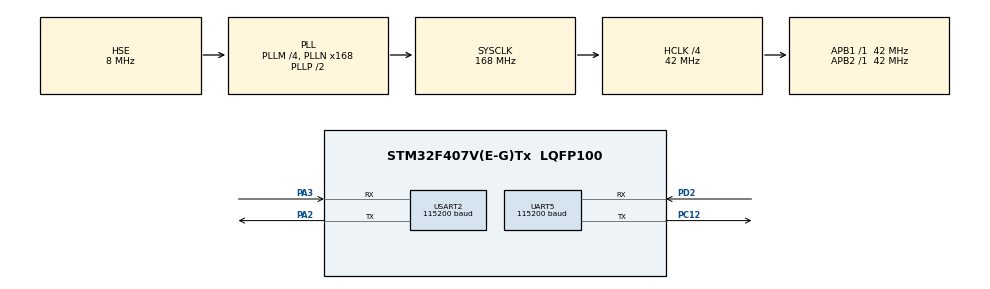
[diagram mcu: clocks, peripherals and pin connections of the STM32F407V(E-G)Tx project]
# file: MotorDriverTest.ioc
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Mcu.Family=STM32F4
Mcu.Name=STM32F407V(E-G)Tx
Mcu.Package=LQFP100
NVIC.PriorityGroup=NVIC_PRIORITYGROUP_4
PA2.Mode=Asynchronous
PA2.Signal=USART2_TX
PA3.Mode=Asynchronous
PA3.Signal=USART2_RX
PC12.Mode=Asynchronous
PC12.Signal=UART5_TX
PD2.Mode=Asynchronous
PD2.Signal=UART5_RX
PH0-OSC_IN.Mode=HSE-External-Oscillator
PH0-OSC_IN.Signal=RCC_OSC_IN
PH1-OSC_OUT.Mode=HSE-External-Oscillator
PH1-OSC_OUT.Signal=RCC_OSC_OUT
ProjectManager.HeapSize=0x200
ProjectManager.StackSize=0x400
ProjectManager.TargetToolchain=STM32CubeIDE
RCC.48MHZClocksFreq_Value=84000000
RCC.AHBCLKDivider=RCC_SYSCLK_DIV4
RCC.AHBFreq_Value=42000000
RCC.APB1Freq_Value=42000000
RCC.APB1TimFreq_Value=42000000
RCC.APB2Freq_Value=42000000
RCC.APB2TimFreq_Value=42000000
RCC.CortexFreq_Value=42000000
RCC.HCLKFreq_Value=42000000
RCC.HSE_VALUE=8000000
RCC.HSI_VALUE=16000000
RCC.LSE_VALUE=32768
RCC.PLLM=4
RCC.PLLN=168
RCC.PLLSourceVirtual=RCC_PLLSOURCE_HSE
RCC.SYSCLKFreq_VALUE=168000000
RCC.SYSCLKSource=RCC_SYSCLKSOURCE_PLLCLK
RCC.VCOOutputFreq_Value=336000000
UART5.BaudRate=115200
UART5.VirtualMode=Asynchronous
USART2.BaudRate=115200
USART2.VirtualMode=VM_ASYNC
board=custom

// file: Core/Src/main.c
/* USER CODE BEGIN Header */
/**
  ******************************************************************************
  * @file           : main.c
  * @brief          : Main program body
  ******************************************************************************
  * @attention
  *
  * Copyright (c) 2025 STMicroelectronics.
  * All rights reserved.
  *
  * This software is licensed under terms that can be found in the LICENSE file
  * in the root directory of this software component.
  * If no LICENSE file comes with this software, it is provided AS-IS.
  *
  ******************************************************************************
  */
/* USER CODE END Header */
#include "main.h"

UART_HandleTypeDef huart5;
UART_HandleTypeDef huart2;

/* USER CODE BEGIN PV */
uint8_t command = 0x88;
uint8_t data = 0x7F;
uint8_t i = 0;
uint8_t *point = &i;
/* USER CODE END PV */

void SystemClock_Config(void);
static void MX_GPIO_Init(void);
static void MX_USART2_UART_Init(void);
static void MX_UART5_Init(void);
/* USER CODE BEGIN PFP */
void printNumber(uint8_t *num);

/* USER CODE END PFP */

int main(void)
{

  /* MCU Configuration--------------------------------------------------------*/

  /* Reset of all peripherals, Initializes the Flash interface and the Systick. */
  HAL_Init();

  /* Configure the system clock */
  SystemClock_Config();

  /* Initialize all configured peripherals */
  MX_GPIO_Init();
  MX_USART2_UART_Init();
  MX_UART5_Init();
  /* USER CODE BEGIN 2 */

  // get config params
  command = 0x83;
  uint8_t param = 9;
  data = 2;  // 1 - 11
  HAL_UART_Transmit(&huart2, &command, 1, 20);
  HAL_UART_Transmit(&huart2, &param, 1, 20);
  HAL_UART_Receive(&huart2, &data, 1, 20);
  HAL_Delay(7);

  // get error
  command = 0x82;
  data = 0;
  HAL_UART_Transmit(&huart2, &command, 1, 20);
  HAL_UART_Receive(&huart2, &data, 1, 20);
  HAL_Delay(7);

 //M0 forward max
  command = 0x88;
  data = 0x7F;
  HAL_UART_Transmit(&huart2, &command, 1, 20);
  HAL_UART_Transmit(&huart2, &data, 1, 20);
  HAL_Delay(7);
  // check the current
  command = 0x90;
  HAL_UART_Transmit(&huart2, &command, 1, 20);
  HAL_UART_Receive(&huart2, &data, 1, 20);
  HAL_Delay(300);

  //M0 reverse max
   command = 0x8B;
   data = 0x7F;
   HAL_UART_Transmit(&huart2, &command, 1, 20);
   HAL_UART_Transmit(&huart2, &data, 1, 20);
   HAL_Delay(7);

  //M0 break max
   command = 0x86;
   data = 127;
   HAL_UART_Transmit(&huart2, &command, 1, 20);
     HAL_UART_Transmit(&huart2, &data, 1, 20);
   // check current while braking
   command = 0x90;
   HAL_UART_Transmit(&huart2, &command, 1, 20);
   HAL_UART_Receive(&huart2, &data, 1, 20);
   HAL_Delay(300);
   // check current on stopped motor
   command = 0x90;
   HAL_UART_Transmit(&huart2, &command, 1, 20);
   HAL_UART_Receive(&huart2, &data, 1, 20);
   HAL_Delay(300);

   //M0 forward medium speed 63
    command = 0x88;
    data = 63;
    HAL_UART_Transmit(&huart2, &command, 1, 20);
    HAL_UART_Transmit(&huart2, &data, 1, 20);

    // check the current
    command = 0x90;
    HAL_UART_Transmit(&huart2, &command, 1, 20);
    HAL_UART_Receive(&huart2, &data, 1, 20);
    HAL_Delay(300);

  //M1 forward max
   command = 0x8C;
   data = 127;
   HAL_UART_Transmit(&huart2, &command, 1, 20);
   HAL_UART_Transmit(&huart2, &data, 1, 20);
   HAL_Delay(300);

  //M1 brak 0
   command = 0x87;
   data = 0;
   HAL_UART_Transmit(&huart2, &command, 1, 20);
   HAL_UART_Transmit(&huart2, &data, 1, 20);
   HAL_Delay(300);

  /* USER CODE END 2 */

  /* Infinite loop */
  /* USER CODE BEGIN WHILE */
  while (1)
  {
	//printNumber(point);
	  // PC comunication test
	  command = 0x90;
	  HAL_UART_Transmit(&huart5, &command, 1, 20);
	  HAL_Delay(300);
    /* USER CODE END WHILE */

  }
}

void SystemClock_Config(void)
{
  RCC_OscInitTypeDef RCC_OscInitStruct = {0};
  RCC_ClkInitTypeDef RCC_ClkInitStruct = {0};

  /** Configure the main internal regulator output voltage
  */
  __HAL_RCC_PWR_CLK_ENABLE();
  __HAL_PWR_VOLTAGESCALING_CONFIG(PWR_REGULATOR_VOLTAGE_SCALE1);

  /** Initializes the RCC Oscillators according to the specified parameters
  * in the RCC_OscInitTypeDef structure.
  */
  RCC_OscInitStruct.OscillatorType = RCC_OSCILLATORTYPE_HSE;
  RCC_OscInitStruct.HSEState = RCC_HSE_ON;
  RCC_OscInitStruct.PLL.PLLState = RCC_PLL_ON;
  RCC_OscInitStruct.PLL.PLLSource = RCC_PLLSOURCE_HSE;
  RCC_OscInitStruct.PLL.PLLM = 4;
  RCC_OscInitStruct.PLL.PLLN = 168;
  RCC_OscInitStruct.PLL.PLLP = RCC_PLLP_DIV2;
  RCC_OscInitStruct.PLL.PLLQ = 4;
  if (HAL_RCC_OscConfig(&RCC_OscInitStruct) != HAL_OK)
  {
    Error_Handler();
  }

  /** Initializes the CPU, AHB and APB buses clocks
  */
  RCC_ClkInitStruct.ClockType = RCC_CLOCKTYPE_HCLK|RCC_CLOCKTYPE_SYSCLK
                              |RCC_CLOCKTYPE_PCLK1|RCC_CLOCKTYPE_PCLK2;
  RCC_ClkInitStruct.SYSCLKSource = RCC_SYSCLKSOURCE_PLLCLK;
  RCC_ClkInitStruct.AHBCLKDivider = RCC_SYSCLK_DIV4;
  RCC_ClkInitStruct.APB1CLKDivider = RCC_HCLK_DIV1;
  RCC_ClkInitStruct.APB2CLKDivider = RCC_HCLK_DIV1;

  if (HAL_RCC_ClockConfig(&RCC_ClkInitStruct, FLASH_LATENCY_1) != HAL_OK)
  {
    Error_Handler();
  }
}

static void MX_UART5_Init(void)
{

  huart5.Instance = UART5;
  huart5.Init.BaudRate = 115200;
  huart5.Init.WordLength = UART_WORDLENGTH_8B;
  huart5.Init.StopBits = UART_STOPBITS_1;
  huart5.Init.Parity = UART_PARITY_NONE;
  huart5.Init.Mode = UART_MODE_TX_RX;
  huart5.Init.HwFlowCtl = UART_HWCONTROL_NONE;
  huart5.Init.OverSampling = UART_OVERSAMPLING_16;
  if (HAL_UART_Init(&huart5) != HAL_OK)
  {
    Error_Handler();
  }

}

static void MX_USART2_UART_Init(void)
{

  huart2.Instance = USART2;
  huart2.Init.BaudRate = 115200;
  huart2.Init.WordLength = UART_WORDLENGTH_8B;
  huart2.Init.StopBits = UART_STOPBITS_1;
  huart2.Init.Parity = UART_PARITY_NONE;
  huart2.Init.Mode = UART_MODE_TX_RX;
  huart2.Init.HwFlowCtl = UART_HWCONTROL_NONE;
  huart2.Init.OverSampling = UART_OVERSAMPLING_16;
  if (HAL_UART_Init(&huart2) != HAL_OK)
  {
    Error_Handler();
  }

}

static void MX_GPIO_Init(void)
{

  /* GPIO Ports Clock Enable */
  __HAL_RCC_GPIOH_CLK_ENABLE();
  __HAL_RCC_GPIOA_CLK_ENABLE();
  __HAL_RCC_GPIOC_CLK_ENABLE();
  __HAL_RCC_GPIOD_CLK_ENABLE();

}

/* USER CODE BEGIN 4 */
void printNumber(uint8_t *num){
	HAL_UART_Transmit(&huart2, num, 1, 20);
    (*num)++;
    HAL_Delay(200);
}

/* USER CODE END 4 */

void Error_Handler(void)
{
  __disable_irq();
  while (1)
  {
  }
}
